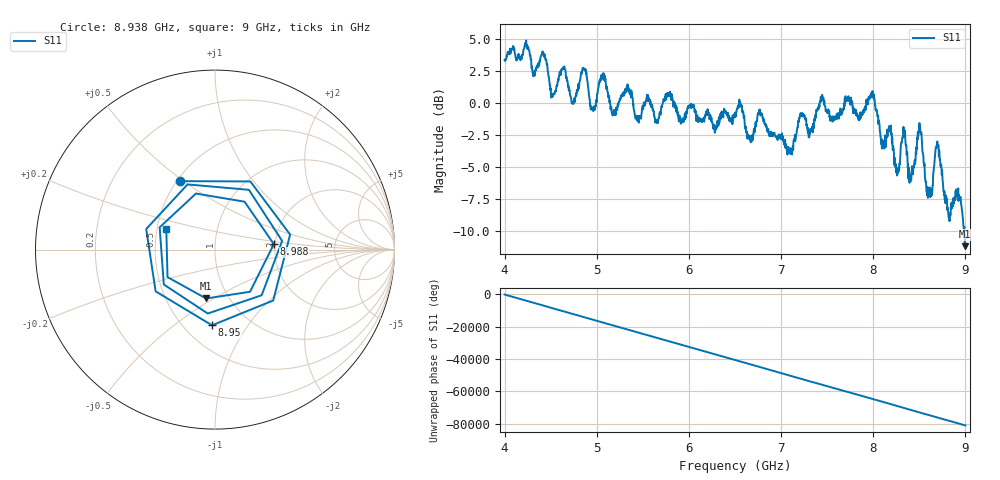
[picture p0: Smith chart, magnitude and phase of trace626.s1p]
! Created with skrf 1.8.0 (http://scikit-rf.org).
# Hz S RI R 50.0
!freq ReS11 ImS11
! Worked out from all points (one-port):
!   1601 points, 4 GHz to 9 GHz, reference 50 ohm
!   lowest |S11| = -11.2 dB at 8.994 GHz (marker M1), VSWR 1.77, Z = 39.2 - j23.1 ohm
!   |S11| at or under -10 dB: 8.983508 GHz to 8.984678 GHz (1.169 MHz wide, 0.013 % of centre); 8.98962 GHz to end of sweep
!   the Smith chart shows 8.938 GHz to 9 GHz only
!   S11 on the Smith chart (normalised r, x): 8.938 GHz: 0.52, +0.48; 8.95 GHz: 0.68, -0.70; 8.988 GHz: 1.97, +0.13; 9 GHz: 0.56, +0.14
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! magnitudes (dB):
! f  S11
! 4 GHz  3.4
! 4.419 GHz  4.0
! 4.528 GHz  0.6
! 4.625 GHz  2.7
! 4.741 GHz  0.1
! 4.856 GHz  2.8
! 4.953 GHz  -0.4
! 5.066 GHz  2.2
! 5.25 GHz  0.4
! 5.875 GHz  -0.7
! 6.5 GHz  -0.9
! 7.125 GHz  -3.6
! 7.222 GHz  -0.9
! 7.75 GHz  0.1
! 7.991 GHz  1.0
! 8.103 GHz  -3.3
! 8.266 GHz  -5.4
! 8.334 GHz  -2.2
! 8.375 GHz  -5.0
! 8.503 GHz  -1.5
! 8.6 GHz  -6.6
! 8.694 GHz  -3.0
! 8.816 GHz  -8.8
! 8.938 GHz  -7.4
! 8.95 GHz  -7.5
! 8.988 GHz  -9.6
! 8.994 GHz  -11.2
! 9 GHz  -10.6
